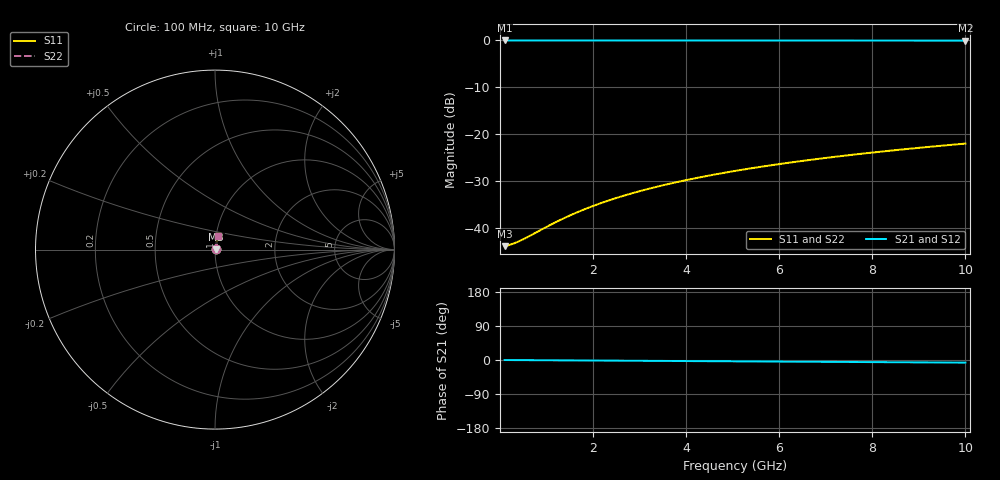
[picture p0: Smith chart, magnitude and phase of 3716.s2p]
# Hz S RI R 50.00
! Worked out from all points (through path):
!   100 points, 100 MHz to 10 GHz, reference 50 ohm
!   highest |S21| = -0.06 dB at 100 MHz (marker M1); lowest = -0.1 dB at 10 GHz (marker M2)
!   lowest |S11| = -43.8 dB at 100 MHz (marker M3), VSWR 1.01, Z = 50.6 + j0.0797 ohm
!   |S11| at or under -10 dB: start of sweep to end of sweep
!   |S22| runs from -43.8 to -22.0 dB; largest |S21 - S12| = 0
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1e8  0.0064 0.000787  0.9936 -0.00121  0.9936 -0.00121  0.0064 0.000787
2e8  0.00644 0.00157  0.9936 -0.00241  0.9936 -0.00241  0.00644 0.00157
3e8  0.00648 0.00236  0.9935 -0.00362  0.9935 -0.00362  0.00648 0.00236
4e8  0.00651 0.00315  0.9935 -0.00483  0.9935 -0.00483  0.00651 0.00315
6e8  0.00657 0.00472  0.9934 -0.00724  0.9934 -0.00724  0.00657 0.00472
1e9  0.00669 0.00787  0.9933 -0.0121  0.9933 -0.0121  0.00669 0.00787
1.3e9  0.00679 0.0102  0.9932 -0.0157  0.9932 -0.0157  0.00679 0.0102
1.5e9  0.00686 0.0118  0.9931 -0.0181  0.9931 -0.0181  0.00686 0.0118
1.8e9  0.00698 0.0142  0.993 -0.0217  0.993 -0.0217  0.00698 0.0142
2.1e9  0.00712 0.0165  0.9928 -0.0253  0.9928 -0.0253  0.00712 0.0165
2.5e9  0.00732 0.0196  0.9926 -0.0301  0.9926 -0.0301  0.00732 0.0196
2.9e9  0.00756 0.0228  0.9924 -0.035  0.9924 -0.035  0.00756 0.0228
3.4e9  0.00789 0.0267  0.992 -0.041  0.992 -0.041  0.00789 0.0267
3.8e9  0.00818 0.0298  0.9917 -0.0458  0.9917 -0.0458  0.00818 0.0298
4.2e9  0.00851 0.033  0.9913 -0.0506  0.9913 -0.0506  0.00851 0.033
4.6e9  0.00887 0.0361  0.9909 -0.0554  0.9909 -0.0554  0.00887 0.0361
5.1e9  0.00935 0.04  0.9904 -0.0614  0.9904 -0.0614  0.00935 0.04
5.9e9  0.0102 0.0462  0.9894 -0.071  0.9894 -0.071  0.0102 0.0462
6.7e9  0.0112 0.0524  0.9884 -0.0805  0.9884 -0.0805  0.0112 0.0524
7.5e9  0.0123 0.0586  0.9871 -0.0901  0.9871 -0.0901  0.0123 0.0586
8.4e9  0.0137 0.0655  0.9856 -0.1008  0.9856 -0.1008  0.0137 0.0655
1e10  0.0166 0.0777  0.9825 -0.1198  0.9825 -0.1198  0.0166 0.0777
